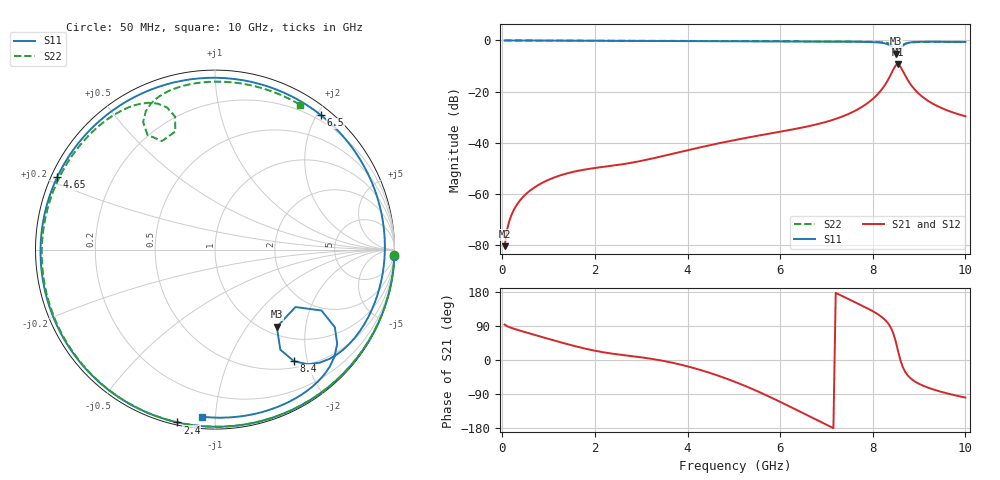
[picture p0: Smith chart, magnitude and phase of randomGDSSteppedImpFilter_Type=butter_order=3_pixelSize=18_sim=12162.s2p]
! freq	dB(S11)	phase(S11)	dB(S12)	phase(S12)
!  dB(S21)	phase(S21)	dB(S22)	phase(S22)
!S-par simulation data
#  GHz  S  DB  R 50
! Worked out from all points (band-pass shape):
!   200 points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, 50 MHz to 10 GHz, reference 50 ohm
!   highest |S21| = -9.31 dB at 8.55 GHz (marker M1); lowest = -80.5 dB at 50 MHz (marker M2)
!   |S21| within 3 dB of the highest: 8.418 GHz to 8.659 GHz (240.9 MHz wide, 2.82 % of centre)
!   lowest |S11| = -5.2 dB at 8.5 GHz (marker M3), VSWR 3.45, Z = 56.6 - j69.9 ohm
!   |S11| at or under -10 dB: nowhere
!   |S22| runs from -3.4 to 0.0 dB; largest |S21 - S12| = 0
!   S11 on the Smith chart (normalised r, x): 50 MHz: 0, -53; 2.4 GHz: 0.01, -0.81; 4.65 GHz: 0.02, +0.22; 6.5 GHz: 0.12, +2.06; 8.4 GHz: 0.60, -1.78; 10 GHz: 0.06, -0.92
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0.05  -0.00 -2.2  -80.48 93.6  -80.48 93.6  -0.00 -1.6
0.2  -0.00 -8.7  -68.19 84.6  -68.19 84.6  -0.00 -6.4
0.5  -0.02 -21.7  -60.27 73.3  -60.27 73.3  -0.01 -16.0
1.75  -0.09 -74.9  -50.60 31.1  -50.60 31.1  -0.07 -54.6
2.4  -0.13 -102.3  -48.94 16.3  -48.94 16.3  -0.09 -73.7
3.4  -0.19 -145.3  -45.51 -0.6  -45.51 -0.6  -0.13 -101.8
4.05  -0.24 -175.1  -42.74 -18.4  -42.74 -18.4  -0.16 -119.3
4.65  -0.29 155.4  -40.33 -40.9  -40.33 -40.9  -0.19 -135.2
5.05  -0.32 134.4  -38.86 -58.9  -38.86 -58.9  -0.21 -145.7
5.8  -0.38 92.3  -36.35 -98.7  -36.35 -98.7  -0.27 -165.7
6.5  -0.41 51.7  -33.98 -140.5  -33.98 -140.5  -0.32 175.1
6.7  -0.42 40.3  -33.19 -152.7  -33.19 -152.7  -0.34 169.4
7.6  -0.51 -8.3  -27.69 153.6  -27.69 153.6  -0.44 141.9
8.05  -0.71 -31.8  -22.05 125.3  -22.05 125.3  -0.57 125.8
8.35  -1.70 -51.0  -14.75 93.5  -14.75 93.5  -1.16 111.5
8.4  -2.36 -54.7  -12.98 82.9  -12.98 82.9  -1.56 108.7
8.5  -5.18 -51.3  -9.66 46.9  -9.66 46.9  -3.17 108.6
8.55  -5.18 -35.5  -9.31 21.4  -9.31 21.4  -3.44 116.1
8.65  -1.98 -32.9  -12.00 -19.2  -12.00 -19.2  -1.78 119.4
8.75  -0.97 -41.9  -15.34 -39.9  -15.34 -39.9  -1.02 113.6
9.2  -0.51 -66.1  -23.69 -73.2  -23.69 -73.2  -0.58 92.5
10  -0.60 -94.5  -29.66 -99.2  -29.66 -99.2  -0.58 59.7
